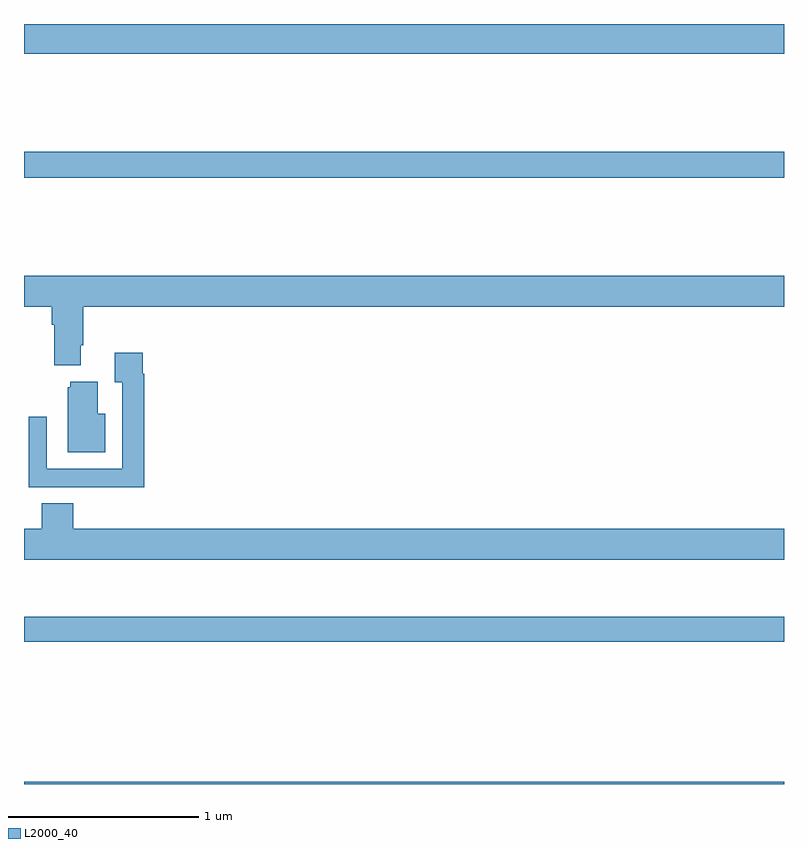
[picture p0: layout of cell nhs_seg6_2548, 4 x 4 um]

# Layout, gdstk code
import gdstk
lib = gdstk.Library(unit=1e-6, precision=1e-09)
def R(c, l, rs):  # rectangles x0, y0, x1, y1
    for r in rs: c.add(gdstk.rectangle(r[:2], r[2:], *l))
def P(c, l, *ps):  # polygons
    for p in ps: c.add(gdstk.Polygon(p, *l))
L2000_40 = (2000, 40)

nhs_seg6_2548 = lib.new_cell('nhs_seg6_2548')
R(nhs_seg6_2548, L2000_40, [(263,935.5,267,935.512), (263,936.25,267,936.379), (263,938.692,267,938.828), (263,939.344,267,939.5)])
P(nhs_seg6_2548, L2000_40, [(263,938.012),(263.147,938.012),(263.147,937.916),(263.159,937.916),(263.159,937.703),(263.299,937.703),(263.299,937.81),(263.312,937.81),(263.312,938.012),(267,938.012),(267,938.176),(263,938.176)],
  [(263.633,937.658),(263.626,937.658),(263.626,937.771),(263.477,937.771),(263.477,937.615),(263.517,937.615),(263.517,937.158),(263.121,937.158),(263.121,937.432),(263.025,937.432),(263.025,937.062),(263.341,937.062),(263.341,937.061),(263.633,937.061)],
  [(263.428,937.45),(263.389,937.45),(263.389,937.618),(263.243,937.618),(263.243,937.587),(263.231,937.587),(263.231,937.247),(263.428,937.247)],
  [(267,936.844),(263.258,936.844),(263.258,936.977),(263.093,936.977),(263.093,936.844),(263,936.844),(263,936.68),(267,936.68)])

lib.write_gds('nhs_seg6_2548.gds')
